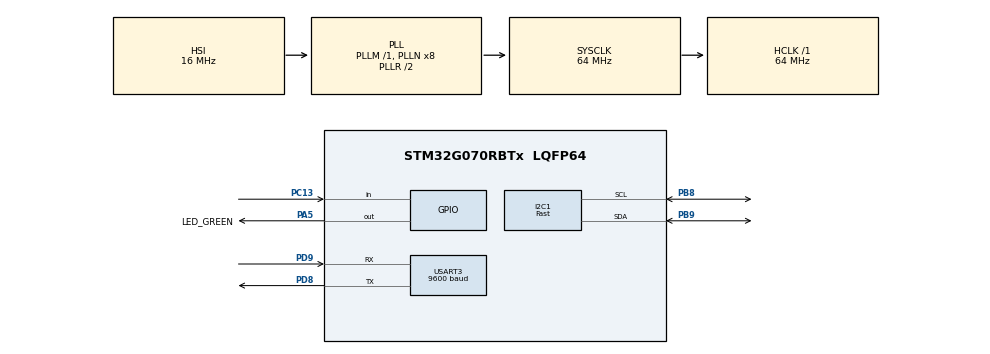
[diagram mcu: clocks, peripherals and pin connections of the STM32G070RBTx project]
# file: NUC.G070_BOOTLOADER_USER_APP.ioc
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Dma.Request0=USART3_RX
Dma.USART3_RX.0.Direction=DMA_PERIPH_TO_MEMORY
Dma.USART3_RX.0.EventEnable=DISABLE
Dma.USART3_RX.0.Instance=DMA1_Channel1
Dma.USART3_RX.0.MemDataAlignment=DMA_MDATAALIGN_BYTE
Dma.USART3_RX.0.MemInc=DMA_MINC_ENABLE
Dma.USART3_RX.0.Mode=DMA_NORMAL
Dma.USART3_RX.0.PeriphDataAlignment=DMA_PDATAALIGN_BYTE
Dma.USART3_RX.0.PeriphInc=DMA_PINC_DISABLE
Dma.USART3_RX.0.Polarity=HAL_DMAMUX_REQ_GEN_RISING
Dma.USART3_RX.0.Priority=DMA_PRIORITY_LOW
Dma.USART3_RX.0.RequestNumber=1
Dma.USART3_RX.0.SignalID=NONE
Dma.USART3_RX.0.SyncEnable=DISABLE
Dma.USART3_RX.0.SyncPolarity=HAL_DMAMUX_SYNC_NO_EVENT
Dma.USART3_RX.0.SyncRequestNumber=1
Dma.USART3_RX.0.SyncSignalID=NONE
I2C1.I2C_Speed_Mode=I2C_Fast
I2C1.Timing=0x00602173
Mcu.Family=STM32G0
Mcu.Name=STM32G070RBTx
Mcu.Package=LQFP64
NVIC.DMA1_Channel1_IRQn=true\:0\:0\:false\:false\:true\:false\:true\:true
NVIC.USART3_4_IRQn=true\:0\:0\:false\:false\:true\:true\:true\:true
PA13.GPIO_Label=TMS
PA13.Mode=Serial_Wire
PA13.Signal=SYS_SWDIO
PA14-BOOT0.GPIO_Label=TCK
PA14-BOOT0.Mode=Serial_Wire
PA14-BOOT0.Signal=SYS_SWCLK
PA2.GPIO_PuPd=GPIO_PULLUP
PA2.Signal=USART2_TX
PA3.GPIO_PuPd=GPIO_PULLUP
PA3.Signal=USART2_RX
PA5.GPIO_Label=LED_GREEN
PA5.GPIO_Speed=GPIO_SPEED_FREQ_HIGH
PA5.Signal=GPIO_Output
PB8.Mode=I2C
PB8.Signal=I2C1_SCL
PB9.Mode=I2C
PB9.Signal=I2C1_SDA
PC13.GPIO_PuPd=GPIO_PULLUP
PC13.Signal=GPIO_Input
PC14-OSC32_IN\ (PC14).Mode=LSE-External-Oscillator
PC14-OSC32_IN\ (PC14).Signal=RCC_OSC32_IN
PC15-OSC32_OUT\ (PC15).Mode=LSE-External-Oscillator
PC15-OSC32_OUT\ (PC15).Signal=RCC_OSC32_OUT
PD8.Mode=Asynchronous
PD8.Signal=USART3_TX
PD9.Mode=Asynchronous
PD9.Signal=USART3_RX
PF0-OSC_IN\ (PF0).GPIO_Label=MCO
PF0-OSC_IN\ (PF0).Mode=HSE-External-Clock-Source
PF0-OSC_IN\ (PF0).Signal=RCC_OSC_IN
ProjectManager.HeapSize=0x200
ProjectManager.StackSize=0x400
ProjectManager.TargetToolchain=STM32CubeIDE
RCC.ADCFreq_Value=64000000
RCC.AHBFreq_Value=64000000
RCC.CortexFreq_Value=64000000
RCC.EXTERNAL_CLOCK_VALUE=12288000
RCC.HCLKFreq_Value=64000000
RCC.HSE_VALUE=8000000
RCC.HSI_VALUE=16000000
RCC.SYSCLKFreq_VALUE=64000000
RCC.SYSCLKSource=RCC_SYSCLKSOURCE_PLLCLK
RCC.VCOOutputFreq_Value=128000000
USART3.BaudRate=9600
USART3.VirtualMode-Asynchronous=VM_ASYNC
board=NUCLEO-G070RB

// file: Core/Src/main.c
/* USER CODE BEGIN Header */
/**
  ******************************************************************************
  * @file           : main.c
  * @brief          : Main program body
  ******************************************************************************
  * @attention
  *
  * Copyright (c) 2023 STMicroelectronics.
  * All rights reserved.
  *
  * This software is licensed under terms that can be found in the LICENSE file
  * in the root directory of this software component.
  * If no LICENSE file comes with this software, it is provided AS-IS.
  *
  ******************************************************************************
  */
/* USER CODE END Header */
#include "main.h"

/* USER CODE BEGIN Includes */
#include "ssd1306.h"
#include "fonts.h"
/* USER CODE END Includes */

I2C_HandleTypeDef hi2c1;

UART_HandleTypeDef huart3;
DMA_HandleTypeDef hdma_usart3_rx;

void SystemClock_Config(void);
static void MX_GPIO_Init(void);
static void MX_DMA_Init(void);
static void MX_I2C1_Init(void);
static void MX_USART3_UART_Init(void);

int main(void)
{

  /* MCU Configuration--------------------------------------------------------*/

  /* Reset of all peripherals, Initializes the Flash interface and the Systick. */
  HAL_Init();

  /* Configure the system clock */
  SystemClock_Config();

  /* Initialize all configured peripherals */
  MX_GPIO_Init();
  MX_DMA_Init();
  MX_I2C1_Init();
  MX_USART3_UART_Init();
  /* USER CODE BEGIN 2 */
  SSD1306_Init();

  /* USER CODE END 2 */

  /* Infinite loop */
  /* USER CODE BEGIN WHILE */
  while (1)
  {
	  SSD1306_GotoXY(0, 0);
	  		SSD1306_Clear();

	  		SSD1306_Puts(" USER ", &Font_11x18, 1);
	  		SSD1306_GotoXY(10, 30);
	  		SSD1306_Puts("  APP ", &Font_11x18, 1);
	  		SSD1306_UpdateScreen(); //display
	  		HAL_Delay(500);
	  		SSD1306_GotoXY(0, 0);
	  		SSD1306_Clear();
	  		SSD1306_Puts("USER APP", &Font_11x18, 1);
	  		SSD1306_GotoXY(10, 30);
	  		SSD1306_Puts("  WORKING ", &Font_11x18, 1);
	  		SSD1306_UpdateScreen(); //display
			HAL_Delay(500);

    /* USER CODE END WHILE */

  }
}

void SystemClock_Config(void)
{
  RCC_OscInitTypeDef RCC_OscInitStruct = {0};
  RCC_ClkInitTypeDef RCC_ClkInitStruct = {0};

  /** Configure the main internal regulator output voltage
  */
  HAL_PWREx_ControlVoltageScaling(PWR_REGULATOR_VOLTAGE_SCALE1);

  /** Initializes the RCC Oscillators according to the specified parameters
  * in the RCC_OscInitTypeDef structure.
  */
  RCC_OscInitStruct.OscillatorType = RCC_OSCILLATORTYPE_HSI;
  RCC_OscInitStruct.HSIState = RCC_HSI_ON;
  RCC_OscInitStruct.HSIDiv = RCC_HSI_DIV1;
  RCC_OscInitStruct.HSICalibrationValue = RCC_HSICALIBRATION_DEFAULT;
  RCC_OscInitStruct.PLL.PLLState = RCC_PLL_ON;
  RCC_OscInitStruct.PLL.PLLSource = RCC_PLLSOURCE_HSI;
  RCC_OscInitStruct.PLL.PLLM = RCC_PLLM_DIV1;
  RCC_OscInitStruct.PLL.PLLN = 8;
  RCC_OscInitStruct.PLL.PLLP = RCC_PLLP_DIV2;
  RCC_OscInitStruct.PLL.PLLR = RCC_PLLR_DIV2;
  if (HAL_RCC_OscConfig(&RCC_OscInitStruct) != HAL_OK)
  {
    Error_Handler();
  }

  /** Initializes the CPU, AHB and APB buses clocks
  */
  RCC_ClkInitStruct.ClockType = RCC_CLOCKTYPE_HCLK|RCC_CLOCKTYPE_SYSCLK
                              |RCC_CLOCKTYPE_PCLK1;
  RCC_ClkInitStruct.SYSCLKSource = RCC_SYSCLKSOURCE_PLLCLK;
  RCC_ClkInitStruct.AHBCLKDivider = RCC_SYSCLK_DIV1;
  RCC_ClkInitStruct.APB1CLKDivider = RCC_HCLK_DIV1;

  if (HAL_RCC_ClockConfig(&RCC_ClkInitStruct, FLASH_LATENCY_2) != HAL_OK)
  {
    Error_Handler();
  }
}

static void MX_I2C1_Init(void)
{

  hi2c1.Instance = I2C1;
  hi2c1.Init.Timing = 0x00602173;
  hi2c1.Init.OwnAddress1 = 0;
  hi2c1.Init.AddressingMode = I2C_ADDRESSINGMODE_7BIT;
  hi2c1.Init.DualAddressMode = I2C_DUALADDRESS_DISABLE;
  hi2c1.Init.OwnAddress2 = 0;
  hi2c1.Init.OwnAddress2Masks = I2C_OA2_NOMASK;
  hi2c1.Init.GeneralCallMode = I2C_GENERALCALL_DISABLE;
  hi2c1.Init.NoStretchMode = I2C_NOSTRETCH_DISABLE;
  if (HAL_I2C_Init(&hi2c1) != HAL_OK)
  {
    Error_Handler();
  }

  /** Configure Analogue filter
  */
  if (HAL_I2CEx_ConfigAnalogFilter(&hi2c1, I2C_ANALOGFILTER_ENABLE) != HAL_OK)
  {
    Error_Handler();
  }

  /** Configure Digital filter
  */
  if (HAL_I2CEx_ConfigDigitalFilter(&hi2c1, 0) != HAL_OK)
  {
    Error_Handler();
  }

}

static void MX_USART3_UART_Init(void)
{

  huart3.Instance = USART3;
  huart3.Init.BaudRate = 9600;
  huart3.Init.WordLength = UART_WORDLENGTH_8B;
  huart3.Init.StopBits = UART_STOPBITS_1;
  huart3.Init.Parity = UART_PARITY_NONE;
  huart3.Init.Mode = UART_MODE_TX_RX;
  huart3.Init.HwFlowCtl = UART_HWCONTROL_NONE;
  huart3.Init.OverSampling = UART_OVERSAMPLING_16;
  huart3.Init.OneBitSampling = UART_ONE_BIT_SAMPLE_DISABLE;
  huart3.Init.ClockPrescaler = UART_PRESCALER_DIV1;
  huart3.AdvancedInit.AdvFeatureInit = UART_ADVFEATURE_NO_INIT;
  if (HAL_UART_Init(&huart3) != HAL_OK)
  {
    Error_Handler();
  }

}

static void MX_DMA_Init(void)
{

  /* DMA controller clock enable */
  __HAL_RCC_DMA1_CLK_ENABLE();

  /* DMA interrupt init */
  /* DMA1_Channel1_IRQn interrupt configuration */
  HAL_NVIC_SetPriority(DMA1_Channel1_IRQn, 0, 0);
  HAL_NVIC_EnableIRQ(DMA1_Channel1_IRQn);

}

static void MX_GPIO_Init(void)
{
  GPIO_InitTypeDef GPIO_InitStruct = {0};

  /* GPIO Ports Clock Enable */
  __HAL_RCC_GPIOC_CLK_ENABLE();
  __HAL_RCC_GPIOF_CLK_ENABLE();
  __HAL_RCC_GPIOA_CLK_ENABLE();
  __HAL_RCC_GPIOD_CLK_ENABLE();
  __HAL_RCC_GPIOB_CLK_ENABLE();

  /*Configure GPIO pin Output Level */
  HAL_GPIO_WritePin(LED_GREEN_GPIO_Port, LED_GREEN_Pin, GPIO_PIN_RESET);

  /*Configure GPIO pin : PC13 */
  GPIO_InitStruct.Pin = GPIO_PIN_13;
  GPIO_InitStruct.Mode = GPIO_MODE_INPUT;
  GPIO_InitStruct.Pull = GPIO_PULLUP;
  HAL_GPIO_Init(GPIOC, &GPIO_InitStruct);

  /*Configure GPIO pins : PA2 PA3 */
  GPIO_InitStruct.Pin = GPIO_PIN_2|GPIO_PIN_3;
  GPIO_InitStruct.Mode = GPIO_MODE_AF_PP;
  GPIO_InitStruct.Pull = GPIO_PULLUP;
  GPIO_InitStruct.Speed = GPIO_SPEED_FREQ_LOW;
  GPIO_InitStruct.Alternate = GPIO_AF1_USART2;
  HAL_GPIO_Init(GPIOA, &GPIO_InitStruct);

  /*Configure GPIO pin : LED_GREEN_Pin */
  GPIO_InitStruct.Pin = LED_GREEN_Pin;
  GPIO_InitStruct.Mode = GPIO_MODE_OUTPUT_PP;
  GPIO_InitStruct.Pull = GPIO_NOPULL;
  GPIO_InitStruct.Speed = GPIO_SPEED_FREQ_HIGH;
  HAL_GPIO_Init(LED_GREEN_GPIO_Port, &GPIO_InitStruct);

}

void Error_Handler(void)
{
  __disable_irq();
  while (1)
  {
  }
}
